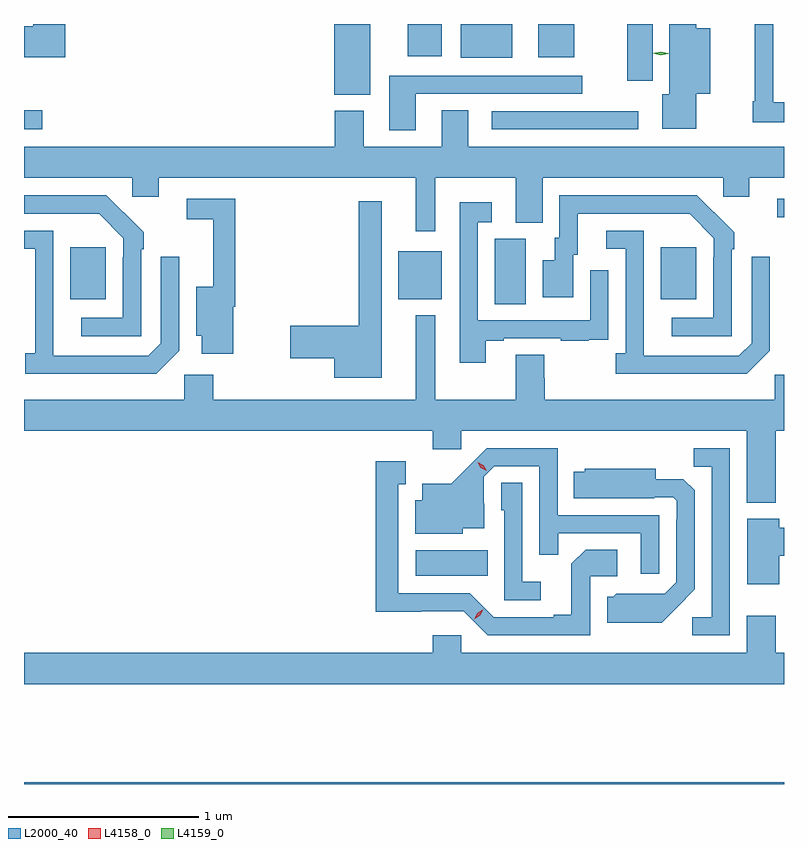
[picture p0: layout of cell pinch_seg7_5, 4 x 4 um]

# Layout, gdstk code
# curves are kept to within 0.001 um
import gdstk
lib = gdstk.Library(unit=1e-6, precision=1e-09)
def R(c, l, rs):  # rectangles x0, y0, x1, y1
    for r in rs: c.add(gdstk.rectangle(r[:2], r[2:], *l))
def P(c, l, *ps):  # polygons
    for p in ps: c.add(gdstk.Polygon(p, *l))
L2000_40 = (2000, 40)
L4158_0 = (4158, 0)
L4159_0 = (4159, 0)

pinch_seg7_5 = lib.new_cell('pinch_seg7_5')
R(pinch_seg7_5, L2000_40, [(1034.192,1042.714,1038.192,1042.724), (1036.254,1043.81,1036.634,1043.944), (1036.67,1045.24,1036.834,1045.584), (1034.435,1045.265,1034.623,1045.54), (1036.163,1045.265,1036.39,1045.519), (1037.543,1045.265,1037.731,1045.54), (1038.156,1045.696,1038.192,1045.794), (1034.192,1046.16,1034.287,1046.261), (1036.653,1046.16,1037.425,1046.256), (1035.824,1046.342,1036.015,1046.714), (1037.366,1046.415,1037.5,1046.714), (1036.49,1046.537,1036.762,1046.714), (1036.898,1046.54,1037.089,1046.714), (1036.211,1046.543,1036.39,1046.714)])
P(pinch_seg7_5, L2000_40, [(1037.73,1046.348),(1037.803,1046.348),(1037.803,1046.692),(1037.73,1046.692),(1037.73,1046.714),(1037.588,1046.714),(1037.588,1046.344),(1037.552,1046.344),(1037.552,1046.162),(1037.73,1046.162)],
  [(1038.192,1046.301),(1038.135,1046.301),(1038.135,1046.714),(1038.037,1046.714),(1038.037,1046.308),(1038.027,1046.308),(1038.027,1046.196),(1038.192,1046.196)],
  [(1034.41,1046.714),(1034.24,1046.714),(1034.24,1046.703),(1034.192,1046.703),(1034.192,1046.54),(1034.41,1046.54)],
  [(1036.255,1046.346),(1037.131,1046.346),(1037.131,1046.442),(1036.115,1046.442),(1036.115,1046.154),(1036.255,1046.154)],
  [(1036.357,1045.904),(1036.781,1045.904),(1036.781,1045.669),(1036.921,1045.669),(1036.921,1045.904),(1037.871,1045.904),(1037.871,1045.806),(1038.01,1045.806),(1038.01,1045.904),(1038.192,1045.904),(1038.192,1046.068),(1036.531,1046.068),(1036.531,1046.261),(1036.391,1046.261),(1036.391,1046.068),(1035.979,1046.068),(1035.979,1046.257),(1035.827,1046.257),(1035.827,1046.068),(1034.192,1046.068),(1034.192,1045.904),(1034.763,1045.904),(1034.763,1045.806),(1034.902,1045.806),(1034.902,1045.904),(1036.253,1045.904),(1036.253,1045.623),(1036.357,1045.623)],
  [(1037.916,1045.529),(1037.931,1045.529),(1037.931,1045.617),(1037.734,1045.812),(1037.01,1045.812),(1037.01,1045.59),(1036.985,1045.59),(1036.985,1045.471),(1036.922,1045.471),(1036.922,1045.275),(1037.083,1045.275),(1037.083,1045.5),(1037.107,1045.5),(1037.107,1045.716),(1037.695,1045.716),(1037.823,1045.587),(1037.823,1045.487),(1037.82,1045.487),(1037.82,1045.167),(1037.601,1045.167),(1037.601,1045.071),(1037.916,1045.071)],
  [(1034.808,1045.529),(1034.823,1045.529),(1034.823,1045.617),(1034.626,1045.812),(1034.192,1045.812),(1034.192,1045.716),(1034.587,1045.716),(1034.715,1045.587),(1034.715,1045.487),(1034.712,1045.487),(1034.712,1045.167),(1034.493,1045.167),(1034.493,1045.071),(1034.808,1045.071)],
  [(1035.294,1045.226),(1035.305,1045.226),(1035.305,1045.794),(1035.048,1045.794),(1035.048,1045.686),(1035.188,1045.686),(1035.188,1045.33),(1035.098,1045.33),(1035.098,1045.073),(1035.128,1045.073),(1035.128,1044.978),(1035.294,1044.978)],
  [(1036.075,1045.78),(1035.954,1045.78),(1035.954,1045.127),(1035.594,1045.127),(1035.594,1044.956),(1035.824,1044.956),(1035.824,1044.851),(1036.075,1044.851)],
  [(1036.621,1045.047),(1036.717,1045.047),(1036.717,1045.059),(1037.017,1045.059),(1037.017,1045.047),(1037.165,1045.047),(1037.165,1045.053),(1037.267,1045.053),(1037.267,1045.162),(1037.268,1045.162),(1037.268,1045.417),(1037.172,1045.417),(1037.172,1045.155),(1036.581,1045.155),(1036.581,1045.671),(1036.654,1045.671),(1036.654,1045.777),(1036.485,1045.777),(1036.485,1044.93),(1036.621,1044.93)],
  [(1035.009,1044.993),(1035.009,1045.489),(1034.913,1045.489),(1034.913,1045.035),(1034.847,1044.969),(1034.347,1044.969),(1034.346,1045.626),(1034.192,1045.626),(1034.192,1045.53),(1034.25,1045.53),(1034.25,1044.982),(1034.199,1044.982),(1034.199,1044.872),(1034.888,1044.872)],
  [(1038.117,1044.993),(1038.117,1045.489),(1038.021,1045.489),(1038.021,1045.035),(1037.955,1044.969),(1037.455,1044.969),(1037.454,1045.626),(1037.256,1045.626),(1037.256,1045.53),(1037.358,1045.53),(1037.358,1044.982),(1037.307,1044.982),(1037.307,1044.872),(1037.996,1044.872)],
  [(1038.149,1044.572),(1038.192,1044.572),(1038.192,1044.868),(1038.144,1044.868),(1038.144,1044.736),(1036.934,1044.736),(1036.934,1044.849),(1036.929,1044.849),(1036.929,1044.974),(1036.781,1044.974),(1036.781,1044.736),(1036.357,1044.736),(1036.357,1045.18),(1036.253,1045.18),(1036.253,1044.736),(1035.188,1044.736),(1035.188,1044.868),(1035.036,1044.868),(1035.036,1044.736),(1034.192,1044.736),(1034.192,1044.572),(1036.343,1044.572),(1036.343,1044.477),(1036.494,1044.477),(1036.494,1044.572),(1037.996,1044.572),(1037.996,1044.194),(1038.149,1044.194)],
  [(1037.907,1044.48),(1037.716,1044.48),(1037.716,1044.385),(1037.811,1044.385),(1037.811,1043.592),(1037.709,1043.592),(1037.709,1043.496),(1037.907,1043.496)],
  [(1037.535,1044.129),(1037.001,1044.129),(1037.001,1044.48),(1036.628,1044.48),(1036.441,1044.295),(1036.289,1044.295),(1036.289,1044.208),(1036.25,1044.208),(1036.25,1044.032),(1036.5,1044.032),(1036.5,1044.059),(1036.615,1044.059),(1036.615,1044.188),(1036.611,1044.188),(1036.611,1044.33),(1036.668,1044.387),(1036.905,1044.387),(1036.905,1043.92),(1037.003,1043.92),(1037.003,1044.033),(1037.439,1044.033),(1037.439,1043.82),(1037.535,1043.82)],
  [(1037.172,1043.808),(1037.314,1043.808),(1037.314,1043.948),(1037.149,1043.948),(1037.073,1043.872),(1037.073,1043.605),(1036.979,1043.605),(1036.979,1043.592),(1036.665,1043.592),(1036.539,1043.718),(1036.162,1043.718),(1036.162,1044.291),(1036.201,1044.291),(1036.201,1044.412),(1036.044,1044.412),(1036.044,1043.621),(1036.506,1043.622),(1036.632,1043.496),(1037.172,1043.496)],
  [(1037.629,1043.645),(1037.721,1043.738),(1037.721,1044.26),(1037.662,1044.319),(1037.518,1044.319),(1037.518,1044.373),(1037.142,1044.373),(1037.142,1044.358),(1037.086,1044.358),(1037.086,1044.218),(1037.51,1044.218),(1037.51,1044.222),(1037.61,1044.222),(1037.628,1044.204),(1037.628,1044.104),(1037.625,1044.104),(1037.625,1043.775),(1037.565,1043.715),(1037.308,1043.716),(1037.292,1043.7),(1037.261,1043.7),(1037.261,1043.564),(1037.549,1043.564)],
  [(1036.912,1043.779),(1036.815,1043.779),(1036.815,1044.299),(1036.704,1044.299),(1036.704,1044.156),(1036.719,1044.156),(1036.719,1043.682),(1036.912,1043.682)],
  [(1038.166,1043.915),(1038.192,1043.915),(1038.192,1044.062),(1038.166,1044.062),(1038.166,1044.109),(1037.999,1044.109),(1037.999,1043.766),(1038.166,1043.766)],
  [(1038.192,1043.404),(1038.149,1043.404),(1038.149,1043.599),(1037.996,1043.599),(1037.996,1043.404),(1036.494,1043.404),(1036.494,1043.497),(1036.343,1043.497),(1036.343,1043.404),(1034.192,1043.404),(1034.192,1043.24),(1038.192,1043.24)])
P(pinch_seg7_5, L4158_0, [(1036.627,1044.362),(1036.596,1044.378),(1036.579,1044.408),(1036.579,1044.408),(1036.579,1044.408),(1036.61,1044.392),(1036.627,1044.362),(1036.627,1044.362)],
  [(1036.561,1043.581),(1036.561,1043.582),(1036.578,1043.614),(1036.61,1043.634),(1036.61,1043.634),(1036.61,1043.633),(1036.593,1043.601),(1036.561,1043.581)])
P(pinch_seg7_5, L4159_0, [(1037.542,1046.549),(1037.502,1046.559),(1037.502,1046.559),(1037.502,1046.56),(1037.542,1046.569),(1037.583,1046.559),(1037.583,1046.559),(1037.583,1046.558)])

lib.write_gds('pinch_seg7_5.gds')
